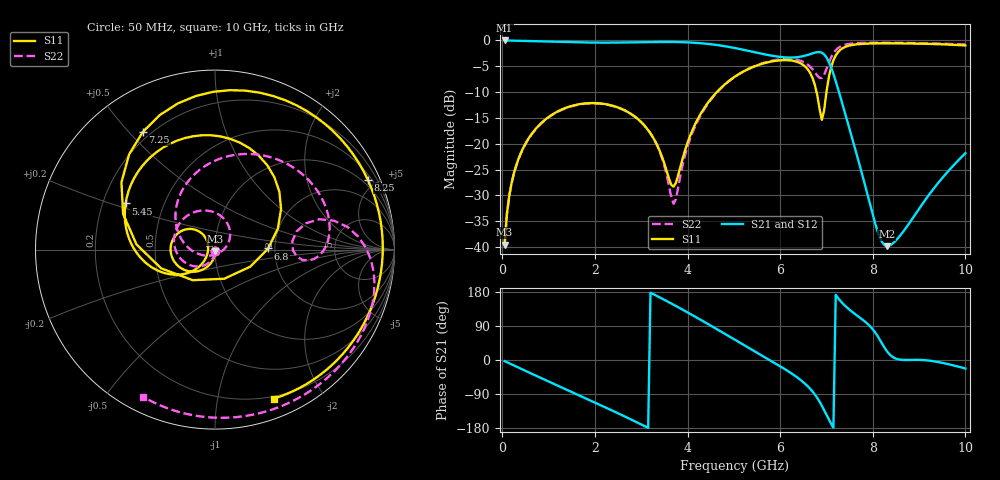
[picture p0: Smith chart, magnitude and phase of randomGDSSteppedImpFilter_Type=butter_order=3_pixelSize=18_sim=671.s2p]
! freq	dB(S11)	phase(S11)	dB(S12)	phase(S12)
!  dB(S21)	phase(S21)	dB(S22)	phase(S22)
!S-par simulation data
#  GHz  S  DB  R 50
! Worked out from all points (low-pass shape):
!   200 points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, 50 MHz to 10 GHz, reference 50 ohm
!   highest |S21| = -0.02 dB at 50 MHz (marker M1); lowest = -39.8 dB at 8.3 GHz (marker M2)
!   |S21| within 3 dB of the highest: start of sweep to 5.852 GHz; 6.515 GHz to 6.976 GHz (460.5 MHz wide, 6.83 % of centre)
!   lowest |S11| = -39.5 dB at 50 MHz (marker M3), VSWR 1.02, Z = 50.1 - j1.05 ohm
!   |S11| at or under -10 dB: start of sweep to 4.633 GHz; 6.785 GHz to 7 GHz (214.1 MHz wide, 3.11 % of centre)
!   |S22| runs from -39.5 to -0.4 dB; largest |S21 - S12| = 0
!   S11 on the Smith chart (normalised r, x): 50 MHz: 1.00, -0.02; 5.45 GHz: 0.30, +0.22; 6.8 GHz: 1.84, +0.03; 7.25 GHz: 0.17, +0.55; 8.25 GHz: 0.71, +4.49; 10 GHz: 0.18, -1.46
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0.05  -39.50 -83.6  -0.02 -2.9  -0.02 -2.9  -39.54 -84.5
0.2  -27.64 -96.2  -0.05 -11.5  -0.05 -11.5  -27.71 -99.7
0.5  -19.99 -112.9  -0.11 -28.6  -0.11 -28.6  -20.07 -121.8
1.75  -12.24 -171.9  -0.41 -98.4  -0.41 -98.4  -12.30 154.6
2.7  -13.81 147.4  -0.40 -152.2  -0.40 -152.2  -13.83 88.3
3.4  -21.42 129.1  -0.31 165.2  -0.31 165.2  -21.57 26.7
3.7  -28.30 -179.6  -0.32 145.8  -0.32 145.8  -31.62 -64.7
4.2  -15.58 -135.7  -0.49 111.9  -0.49 111.9  -15.94 172.9
5.05  -6.86 178.9  -1.53 51.6  -1.53 51.6  -6.87 100.7
5.45  -5.03 152.7  -2.30 23.1  -2.30 23.1  -4.96 70.7
6.25  -3.91 91.9  -3.33 -35.8  -3.33 -35.8  -3.62 17.0
6.7  -7.29 31.5  -2.51 -83.3  -2.51 -83.3  -5.60 -6.7
6.8  -10.56 1.2  -2.28 -99.9  -2.28 -99.9  -6.79 -4.8
6.9  -15.37 -72.2  -2.39 -120.6  -2.39 -120.6  -7.27 6.2
7  -9.97 -160.8  -3.30 -144.4  -3.30 -144.4  -5.54 16.2
7.25  -2.28 121.5  -9.39 163.5  -9.39 163.5  -1.50 0.6
7.6  -0.83 74.1  -20.37 122.8  -20.37 122.8  -0.56 -24.8
8.25  -0.57 24.5  -39.59 33.3  -39.59 33.3  -0.45 -55.4
8.3  -0.57 21.4  -39.82 24.1  -39.82 24.1  -0.45 -57.4
8.35  -0.57 18.3  -39.77 16.4  -39.77 16.4  -0.45 -59.3
9.05  -0.64 -21.2  -31.94 0.1  -31.94 0.1  -0.54 -84.4
10  -0.99 -68.4  -21.82 -22.5  -21.82 -22.5  -0.80 -116.0
